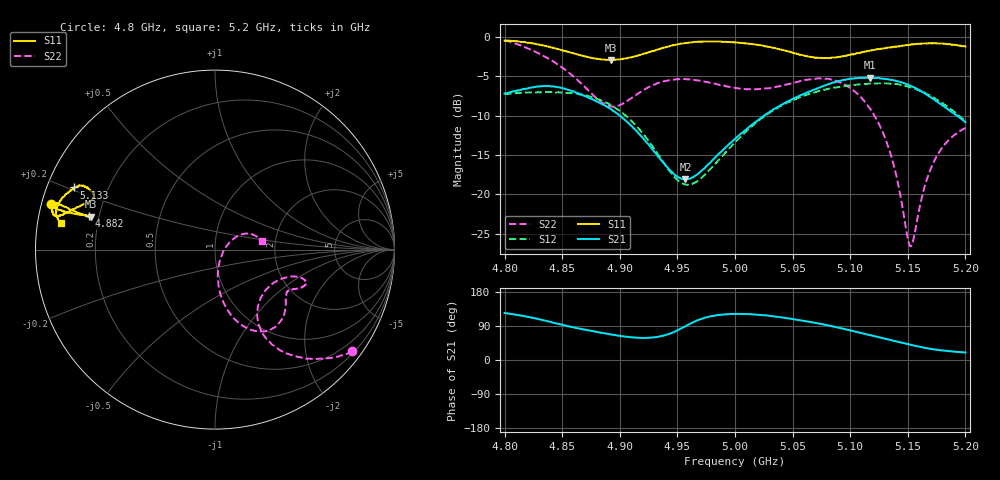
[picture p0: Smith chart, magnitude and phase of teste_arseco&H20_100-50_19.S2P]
! Network Analyzer HP8722D
! Hewlett-Packard
! Data name: Linha & Wilkinson
! Saver's name: Rodrigo Anjos
! Comments: Teste da utilização de aquisição
! continua pelo VNA HP8722D
! Time and date: 6/5/2025 12:43
!  Frequency  S11  S21  S12  S22
# HZ  S  MA R 50
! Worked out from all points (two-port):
!   401 points, 4.8 GHz to 5.2 GHz, reference 50 ohm
!   highest |S21| = -5.17 dB at 5.117 GHz (marker M1); lowest = -18.1 dB at 4.957 GHz (marker M2)
!   |S21| within 3 dB of the highest: start of sweep to 4.88 GHz; 5.046 GHz to 5.175 GHz (129 MHz wide, 2.52 % of centre)
!   lowest |S11| = -2.9 dB at 4.892 GHz (marker M3), VSWR 6.04, Z = 8.42 + j6.31 ohm
!   |S11| at or under -10 dB: nowhere
!   |S22| runs from -26.6 to -0.4 dB; largest |S21 - S12| = 0.71
!   S11 on the Smith chart (normalised r, x): 4.8 GHz: 0.03, +0.14; 4.882 GHz: 0.16, +0.13; 5.133 GHz: 0.08, +0.21; 5.2 GHz: 0.07, +0.09
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4.8e9  0.9497 164.5  0.4382 124.0  0.4348 19.2  0.9516 -36.5
4.834e9  0.88 165.7  0.4869 104.7  0.4458 8.6  0.7572 -52.2
4.867e9  0.7617 165.3  0.4306 81.6  0.4309 -5.1  0.502 -60.0
4.882e9  0.7244 165.2  0.3839 73.0  0.4014 -13.6  0.3954 -52.7
4.892e9  0.7159 165.2  0.3494 67.6  0.3691 -19.9  0.3632 -41.4
4.911e9  0.7476 165.3  0.2685 59.7  0.2888 -30.3  0.4143 -22.5
4.934e9  0.8369 164.5  0.1714 61.7  0.1769 -32.5  0.5118 -18.2
4.957e9  0.9182 164.0  0.1247 89.4  0.1154 -3.3  0.5412 -21.4
4.971e9  0.9353 164.4  0.1413 108.7  0.1276 20.0  0.5248 -23.7
5e9  0.9247 167.4  0.2255 121.5  0.2143 40.0  0.4746 -28.1
5.033e9  0.8556 166.3  0.3456 115.4  0.3415 36.4  0.4794 -34.4
5.067e9  0.7456 158.6  0.4594 99.6  0.4414 22.0  0.5406 -47.6
5.094e9  0.7556 154.9  0.5338 82.6  0.4868 6.8  0.5054 -63.8
5.117e9  0.8178 154.3  0.5516 65.8  0.5047 -6.7  0.353 -77.7
5.133e9  0.858 156.2  0.5392 54.1  0.5075 -16.9  0.2014 -84.4
5.134e9  0.8577 156.5  0.5363 53.6  0.5059 -17.9  0.1917 -84.4
5.141e9  0.8721 158.1  0.5245 48.4  0.502 -22.8  0.1224 -82.1
5.15e9  0.8892 160.3  0.499 41.6  0.4852 -28.9  0.05223 -48.5
5.153e9  0.8983 161.1  0.488 39.6  0.478 -30.9  0.04698 -18.5
5.164e9  0.9099 163.7  0.4426 32.6  0.4452 -37.7  0.1082 29.4
5.172e9  0.9149 165.7  0.405 28.4  0.4142 -42.1  0.1577 30.5
5.2e9  0.871 170.2  0.2879 19.8  0.2915 -52.1  0.2643 10.2
